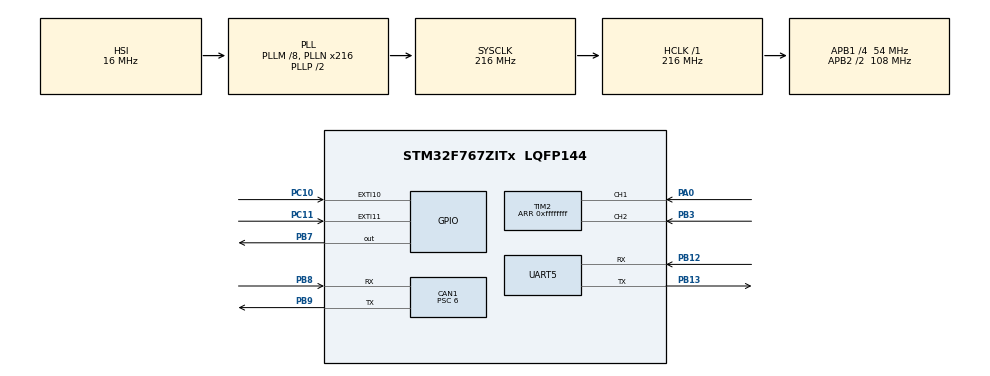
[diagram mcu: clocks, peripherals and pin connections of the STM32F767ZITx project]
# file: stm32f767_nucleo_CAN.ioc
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Mcu.Family=STM32F7
RCC.CortexFreq_Value=216000000
PC10.GPIO_PuPd=GPIO_PULLUP
PC10.Signal=GPXTI10
PC11.Signal=GPXTI11
CAN1.CalculateBaudRate=1000000
VP_TIM6_VS_ClockSourceINT.Mode=Enable_Timer
PA0/WKUP.Signal=S_TIM2_CH1_ETR
TIM2.EncoderMode=TIM_ENCODERMODE_TI12
RCC.APB1CLKDivider=RCC_HCLK_DIV4
PB13.Signal=UART5_TX
RCC.SYSCLKSource=RCC_SYSCLKSOURCE_PLLCLK
ProjectManager.StackSize=0x400
SH.S_TIM2_CH2.0=TIM2_CH2,Encoder_Interface
CAN1.BS2=CAN_BS2_2TQ
CAN1.BS1=CAN_BS1_6TQ
ProjectManager.TargetToolchain=STM32CubeIDE
RCC.HCLKFreq_Value=216000000
RCC.APB2TimFreq_Value=216000000
PB9.Mode=CAN_Activate
RCC.USBFreq_Value=216000000
RCC.LSE_VALUE=32768
RCC.AHBFreq_Value=216000000
CAN1.ABOM=ENABLE
NVIC.EXTI15_10_IRQn=true\:0\:0\:false\:false\:true\:true\:true
RCC.HSE_VALUE=25000000
board=custom
RCC.VCOOutputFreq_Value=432000000
PC10.GPIO_ModeDefaultEXTI=GPIO_MODE_IT_RISING
RCC.APB2Freq_Value=108000000
CAN1.Mode=CAN_MODE_NORMAL
PB7.Signal=GPIO_Output
TIM2.Period=0xffffffff
Mcu.Name=STM32F767ZITx
PB3.Signal=S_TIM2_CH2
RCC.SYSCLKFreq_VALUE=216000000
CAN1.Prescaler=6
Mcu.Package=LQFP144
PB9.Signal=CAN1_TX
PB12.Mode=Asynchronous
SH.S_TIM2_CH1_ETR.0=TIM2_CH1,Encoder_Interface
ProjectManager.HeapSize=0x200
RCC.HSI_VALUE=16000000
NVIC.PriorityGroup=NVIC_PRIORITYGROUP_4
RCC.APB2CLKDivider=RCC_HCLK_DIV2
RCC.PLLM=8
PB8.Mode=CAN_Activate
RCC.PLLN=216
RCC.APB1TimFreq_Value=108000000
PB8.Signal=CAN1_RX
PB13.Mode=Asynchronous
RCC.APB1Freq_Value=54000000
CAN1.CalculateTimeBit=999.99
PB12.Signal=UART5_RX
NVIC.CAN1_RX0_IRQn=true\:0\:0\:false\:false\:true\:true\:true
CAN1.CalculateTimeQuantum=111.11111111111111

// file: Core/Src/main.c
/* USER CODE BEGIN Header */
/**
  ******************************************************************************
  * @file           : main.c
  * @brief          : Main program body
  ******************************************************************************
  * @attention
  *
  * <h2><center>&copy; Copyright (c) 2021 STMicroelectronics.
  * All rights reserved.</center></h2>
  *
  * This software component is licensed by ST under BSD 3-Clause license,
  * the "License"; You may not use this file except in compliance with the
  * License. You may obtain a copy of the License at:
  *                        opensource.org/licenses/BSD-3-Clause
  *
  ******************************************************************************
  */
/* USER CODE END Header */
#include "main.h"
#include "can.h"
#include "tim.h"
#include "usart.h"
#include "gpio.h"

/* USER CODE BEGIN Includes */
#include "printf_SWO.h"

/* USER CODE END Includes */

void SystemClock_Config(void);

/* USER CODE BEGIN 0 */
CAN_TxHeaderTypeDef pHeader;
//
HAL_StatusTypeDef status;
uint8_t aData[8];
uint8_t aData_motor_of[8];
uint8_t aData_motor_on[8];
CAN_RxHeaderTypeDef pHeader_rd;
uint8_t aData_rd[8];
uint32_t pTxMailbox;
CAN_FilterTypeDef sFilterConfig;
//
uint8_t Motor_ID;
//bool flag = 0;

//

/* USER CODE END 0 */

int main(void)
{
  /* USER CODE BEGIN 1 */
	uint32_t TIM2_prev = 0; // предыдущ. значение
uint8_t pTxData[200];

  /* USER CODE END 1 */

  /* MCU Configuration--------------------------------------------------------*/

  /* Reset of all peripherals, Initializes the Flash interface and the Systick. */
  HAL_Init();

  /* Configure the system clock */
  SystemClock_Config();

  /* Initialize all configured peripherals */
  MX_GPIO_Init();
  MX_CAN1_Init();
  MX_TIM6_Init();
  MX_UART5_Init();
  MX_TIM2_Init();
  /* USER CODE BEGIN 2 */
	sprintf((char *)pTxData, "CAN_motor\r\n");
	status = HAL_UART_Transmit (&huart5, pTxData, strlen((char *)pTxData), 200);
	 status = HAL_TIM_Encoder_Start (&htim2, TIM_CHANNEL_ALL);
  if(HAL_CAN_Start(&hcan1) != HAL_OK) // включили CAN
  {
		sprintf((char *)pTxData, "HAL_CAN_start Err\r\n");
		status = HAL_UART_Transmit (&huart5, pTxData, strlen((char *)pTxData), 200);
		 status = HAL_TIM_Encoder_Start (&htim2, TIM_CHANNEL_ALL);

  }
  sFilterConfig.FilterBank = 0;
  sFilterConfig.FilterMode = CAN_FILTERMODE_IDMASK;
  sFilterConfig.FilterScale = CAN_FILTERSCALE_16BIT;
  sFilterConfig.FilterMaskIdHigh = 0x0000;
  sFilterConfig.FilterMaskIdLow = 0x0000;
  sFilterConfig.FilterIdHigh = 0x0000;
  sFilterConfig.FilterIdLow = 0x0000;
  sFilterConfig.FilterFIFOAssignment = CAN_RX_FIFO0;
  sFilterConfig.FilterActivation = ENABLE;
  sFilterConfig.SlaveStartFilterBank = 14;

  if(HAL_CAN_ConfigFilter (&hcan1, &sFilterConfig) != HAL_OK)
  {
	  printf("HAL_CAN_start_filter Err\r\n");
  }

  if(HAL_CAN_ActivateNotification (&hcan1, CAN_IT_RX_FIFO0_MSG_PENDING) != HAL_OK)
  {
	  printf("HAL_CAN_ActivateNotofication Err\r\n");
  }

  Motor_ID = 2;
  pHeader.DLC = 8;
  pHeader.StdId = 0x140 + Motor_ID;
  pHeader.IDE = 0; //Standard identifier.
  pHeader.RTR = 0; //Data frame

 status =  HAL_CAN_AddTxMessage (&hcan1, &pHeader, aData_motor_of, &pTxMailbox);
//  status = HAL_CAN_AddTxMessage (&hcan1, &pHeader, aData, &pTxMailbox);
aData_motor_on[0] = 0xA1;
aData_motor_on[1] = 0x00;
aData_motor_on[2] = 0x00;
aData_motor_on[3] = 0x00;
aData_motor_on[4] = 0xA;
aData_motor_on[5] = 0xA;
aData_motor_on[6] = 0x00;
aData_motor_on[7] = 0x00;

aData_motor_of[0] = 0x80;
aData_motor_of[1] = 0x00;
aData_motor_of[2] = 0x00;
aData_motor_of[3] = 0x00;
aData_motor_of[4] = 0x00;
aData_motor_of[5] = 0x00;
aData_motor_of[6] = 0x00;
aData_motor_of[7] = 0x00;

aData[0] = 0x88;
aData[1] = 0x00;
aData[2] = 0x00;
aData[3] = 0x00;
aData[4] = 0x00;
aData[5] = 0x00;
aData[6] = 0x00;
aData[7] = 0x00;
//    status_motor_of = HAL_CAN_AddTxMessage(&hcan1, &pHeader, aData_motor_of, &pTxMailbox);
status = HAL_TIM_Encoder_Start (&htim2, TIM_CHANNEL_ALL);
  //printf("HAL_CAN_AddTxMessage - status - %d\r\n",status);
  /* USER CODE END 2 */

  /* Infinite loop */
  /* USER CODE BEGIN WHILE */

  while (1)
  {
	  if(TIM2->CNT != TIM2_prev)
	  	  	  	 {
	  	  	  	  TIM2_prev = TIM2->CNT; // предыдущ. значение
	  	  	  	  	sprintf((char *)pTxData, "%ld\r\n", TIM2_prev);
	  	  	  		status = HAL_UART_Transmit (&huart5, pTxData, strlen((char *)pTxData), 200);
	  	  	  	 }
    /* USER CODE END WHILE */
  }
}

void SystemClock_Config(void)
{
  RCC_OscInitTypeDef RCC_OscInitStruct = {0};
  RCC_ClkInitTypeDef RCC_ClkInitStruct = {0};
  RCC_PeriphCLKInitTypeDef PeriphClkInitStruct = {0};

  /** Configure the main internal regulator output voltage
  */
  __HAL_RCC_PWR_CLK_ENABLE();
  __HAL_PWR_VOLTAGESCALING_CONFIG(PWR_REGULATOR_VOLTAGE_SCALE1);
  /** Initializes the RCC Oscillators according to the specified parameters
  * in the RCC_OscInitTypeDef structure.
  */
  RCC_OscInitStruct.OscillatorType = RCC_OSCILLATORTYPE_HSI;
  RCC_OscInitStruct.HSIState = RCC_HSI_ON;
  RCC_OscInitStruct.HSICalibrationValue = RCC_HSICALIBRATION_DEFAULT;
  RCC_OscInitStruct.PLL.PLLState = RCC_PLL_ON;
  RCC_OscInitStruct.PLL.PLLSource = RCC_PLLSOURCE_HSI;
  RCC_OscInitStruct.PLL.PLLM = 8;
  RCC_OscInitStruct.PLL.PLLN = 216;
  RCC_OscInitStruct.PLL.PLLP = RCC_PLLP_DIV2;
  RCC_OscInitStruct.PLL.PLLQ = 2;
  if (HAL_RCC_OscConfig(&RCC_OscInitStruct) != HAL_OK)
  {
    Error_Handler();
  }
  /** Activate the Over-Drive mode
  */
  if (HAL_PWREx_EnableOverDrive() != HAL_OK)
  {
    Error_Handler();
  }
  /** Initializes the CPU, AHB and APB buses clocks
  */
  RCC_ClkInitStruct.ClockType = RCC_CLOCKTYPE_HCLK|RCC_CLOCKTYPE_SYSCLK
                              |RCC_CLOCKTYPE_PCLK1|RCC_CLOCKTYPE_PCLK2;
  RCC_ClkInitStruct.SYSCLKSource = RCC_SYSCLKSOURCE_PLLCLK;
  RCC_ClkInitStruct.AHBCLKDivider = RCC_SYSCLK_DIV1;
  RCC_ClkInitStruct.APB1CLKDivider = RCC_HCLK_DIV4;
  RCC_ClkInitStruct.APB2CLKDivider = RCC_HCLK_DIV2;

  if (HAL_RCC_ClockConfig(&RCC_ClkInitStruct, FLASH_LATENCY_7) != HAL_OK)
  {
    Error_Handler();
  }
  PeriphClkInitStruct.PeriphClockSelection = RCC_PERIPHCLK_UART5;
  PeriphClkInitStruct.Uart5ClockSelection = RCC_UART5CLKSOURCE_PCLK1;
  if (HAL_RCCEx_PeriphCLKConfig(&PeriphClkInitStruct) != HAL_OK)
  {
    Error_Handler();
  }
}

/* USER CODE BEGIN 4 */
void HAL_CAN_RxFifo0MsgPendingCallback (CAN_HandleTypeDef * hcan)
{
	uint8_t i;
	if(HAL_CAN_GetRxMessage(&hcan1, CAN_RX_FIFO0, &pHeader_rd, aData_rd) != HAL_OK)
	{
		printf("HAL_CAN_GetRxMessage Error\r\n");

	}
	else
	{
		printf("%lx: ", pHeader_rd.StdId);
		for (i = 0; i <pHeader_rd.DLC; i++)
		{
			printf(" %x ", aData_rd[i]);

		}
		printf("\r\n");
	}

}

void HAL_GPIO_EXTI_Callback(uint16_t GPIO_Pin)
{
	if (GPIO_Pin == GPIO_PIN_11)
	{
//	HAL_CAN_AddTxMessage (&hcan1, &pHeader, aData, &pTxMailbox);
	HAL_CAN_AddTxMessage (&hcan1, &pHeader, aData_motor_of, &pTxMailbox);
	  HAL_GPIO_WritePin(GPIOB, GPIO_PIN_7, GPIO_PIN_RESET);

	}
	else if (GPIO_Pin == GPIO_PIN_10)
	{
		HAL_CAN_AddTxMessage (&hcan1, &pHeader, aData_motor_on, &pTxMailbox);
		  HAL_GPIO_WritePin(GPIOB, GPIO_PIN_7, GPIO_PIN_SET);
}

	else
	{
		__NOP();
	}

}
/* USER CODE END 4 */

void Error_Handler(void)
{
  __disable_irq();
  while (1)
  {
  }
}

/************************ (C) COPYRIGHT STMicroelectronics *****END OF FILE****/
